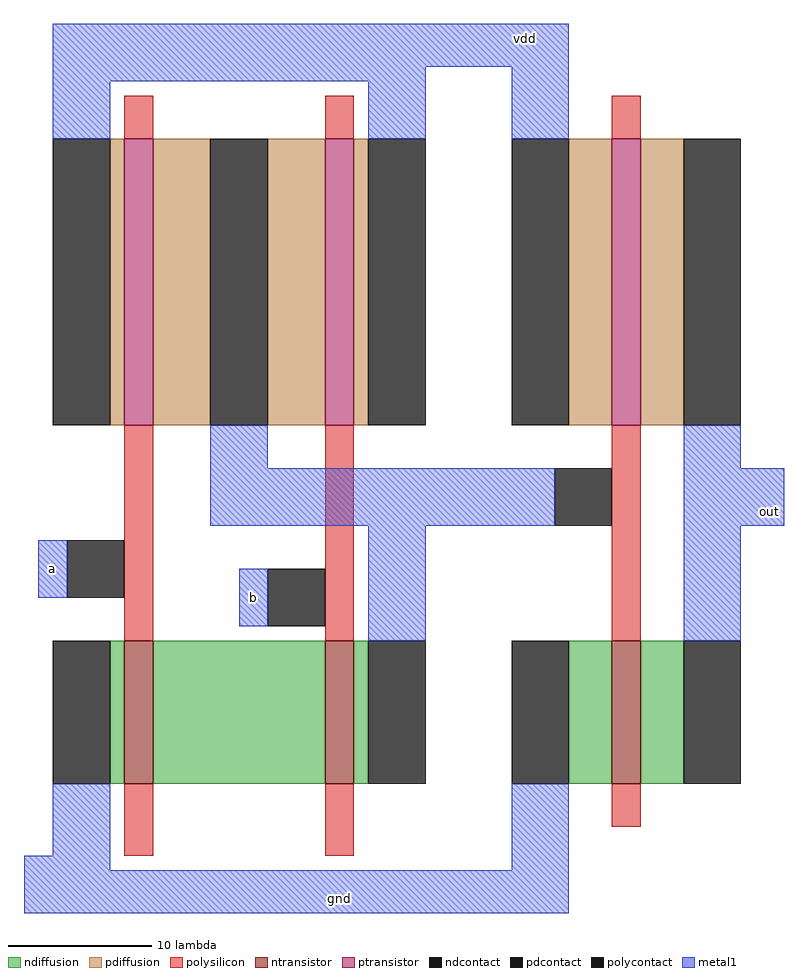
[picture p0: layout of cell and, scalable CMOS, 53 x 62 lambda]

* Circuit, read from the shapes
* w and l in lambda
.subckt and a b gnd out vdd
M1 n1 a gnd VSUBS nfet w=10 l=2
M2 nand_0/out b n1 VSUBS nfet w=10 l=2
M3 out nand_0/out gnd VSUBS nfet w=10 l=2
M4 nand_0/out a vdd NWELL pfet w=20 l=2
M5 vdd b nand_0/out NWELL pfet w=20 l=2
M6 out nand_0/out vdd NWELL pfet w=20 l=2
.ends

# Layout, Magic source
magic
tech scmos
<< ntransistor >>
rect 42 9 44 19
<< ptransistor >>
rect 42 34 44 54
<< ndiffusion >>
rect 39 9 42 19
rect 44 9 47 19
<< pdiffusion >>
rect 39 34 42 54
rect 44 34 47 54
<< ndcontact >>
rect 35 9 39 19
rect 47 9 51 19
<< pdcontact >>
rect 35 34 39 54
rect 47 34 51 54
<< polysilicon >>
rect 42 54 44 57
rect 42 19 44 34
rect 42 6 44 9
<< polycontact >>
rect 38 27 42 31
rect 4 22 8 26
rect 18 20 22 24
<< metal1 >>
rect 28 59 39 62
rect 28 57 29 59
rect 35 54 39 59
rect 47 31 51 34
rect 29 27 38 31
rect 47 27 54 31
rect 2 22 4 26
rect 16 20 18 24
rect 47 19 51 27
rect 35 3 39 9
rect 7 2 39 3
rect 6 0 39 2
use nand  nand_0
transform 1 0 12 0 1 34
box -11 -34 18 28
<< labels >>
rlabel metal1 53 28 53 28 7 out
rlabel metal1 36 61 36 61 5 vdd
rlabel metal1 23 1 23 1 1 gnd
rlabel metal1 3 24 3 24 3 a
rlabel metal1 17 22 17 22 1 b
<< end >>

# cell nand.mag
magic
tech scmos
<< ntransistor >>
rect -4 -25 -2 -15
rect 10 -25 12 -15
<< ptransistor >>
rect -4 0 -2 20
rect 10 0 12 20
<< ndiffusion >>
rect -5 -25 -4 -15
rect -2 -25 10 -15
rect 12 -25 13 -15
<< pdiffusion >>
rect -5 0 -4 20
rect -2 0 2 20
rect 6 0 10 20
rect 12 0 13 20
<< ndcontact >>
rect -9 -25 -5 -15
rect 13 -25 17 -15
<< pdcontact >>
rect -9 0 -5 20
rect 2 0 6 20
rect 13 0 17 20
<< polysilicon >>
rect -4 20 -2 23
rect 10 20 12 23
rect -4 -15 -2 0
rect 10 -15 12 0
rect -4 -30 -2 -25
rect 10 -30 12 -25
<< metal1 >>
rect -9 24 17 28
rect -9 20 -5 24
rect 13 20 17 24
rect 2 -3 6 0
rect 2 -7 18 -3
rect 13 -15 17 -7
rect -9 -30 -5 -25
rect -11 -34 -5 -30
<< labels >>
rlabel metal1 4 27 4 27 5 vdd
rlabel metal1 16 -5 16 -5 7 out
rlabel metal1 -8 -32 -8 -32 2 gnd
<< end >>
